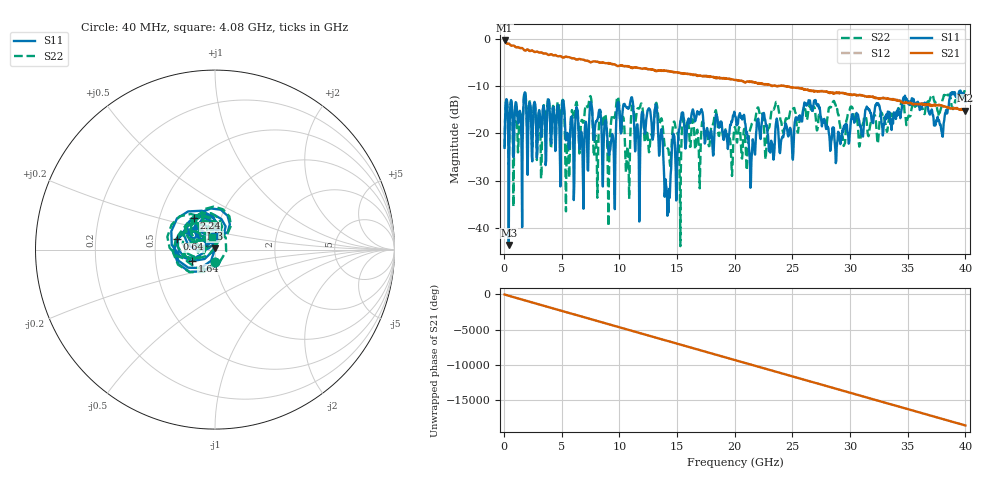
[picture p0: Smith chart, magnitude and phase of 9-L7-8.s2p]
! MS46524B
! 2118201/M1: 21072234/M2: 20492244
! 4/20/2024 10:33:44 AM
! C:\VNA DATA\LC3-SMK\22VAD5613G\LOT801\40OHM\3-L7-8.S2P
! CHANNEL.1
! TR.MEASUREMENT
! CORRECTED.DATA
# GHZ S RI R 50.0
! FREQ.GHZ  S11RE  S11IM  S21RE  S21IM  S12RE  S12IM  S22RE  S22IM
!; PortSelection: Port_12
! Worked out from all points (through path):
!   1000 points, 40 MHz to 40 GHz, reference 50 ohm
!   highest |S21| = -0.25 dB at 40 MHz (marker M1); lowest = -15.2 dB at 39.96 GHz (marker M2)
!   group delay of S21, straight-line fit = 1.29 ns
!   lowest |S11| = -43.7 dB at 400 MHz (marker M3), VSWR 1.01, Z = 50.1 + j0.653 ohm
!   |S11| at or under -10 dB: start of sweep to end of sweep
!   |S22| runs from -43.9 to -10.3 dB; largest |S21 - S12| = 0.0079
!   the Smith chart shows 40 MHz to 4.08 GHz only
!   S11 on the Smith chart (normalised r, x): 40 MHz: 0.99, -0.14; 640 MHz: 0.65, +0.08; 1.64 GHz: 0.77, -0.10; 2.24 GHz: 0.75, +0.27; 4.08 GHz: 0.98, +0.15
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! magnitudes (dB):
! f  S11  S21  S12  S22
! 40 MHz  -23.1  -0.3  -0.2  -23.0
! 400 MHz  -43.7  -0.9  -0.9  -26.7
! 640 MHz  -13.2  -1.4  -1.4  -13.5
! 1.64 GHz  -16.9  -2.0  -2.0  -15.6
! 2.24 GHz  -13.5  -2.5  -2.5  -13.2
! 4.08 GHz  -22.2  -3.2  -3.2  -22.9
! 5.04 GHz  -13.6  -3.8  -3.8  -13.1
! 5.48 GHz  -19.9  -3.7  -3.8  -21.9
! 6.72 GHz  -19.9  -4.3  -4.3  -17.2
! 9.08 GHz  -24.6  -5.1  -5.1  -30.6
! 9.84 GHz  -13.5  -5.7  -5.7  -12.2
! 10.72 GHz  -14.6  -5.7  -5.8  -22.8
! 11.2 GHz  -14.6  -6.1  -6.1  -14.4
! 13.36 GHz  -19.7  -6.7  -6.7  -16.4
! 14.16 GHz  -37.5  -6.7  -6.7  -23.1
! 15.4 GHz  -15.6  -7.3  -7.3  -20.2
! 20.04 GHz  -16.4  -8.6  -8.7  -18.8
! 21.44 GHz  -26.0  -9.0  -9.0  -18.3
! 26.68 GHz  -15.0  -11.0  -10.9  -15.4
! 33.36 GHz  -16.5  -12.7  -12.6  -17.0
! 39.96 GHz  -12.2  -15.2  -15.0  -10.4
! 40 GHz  -13.3  -15.1  -15.1  -10.3
